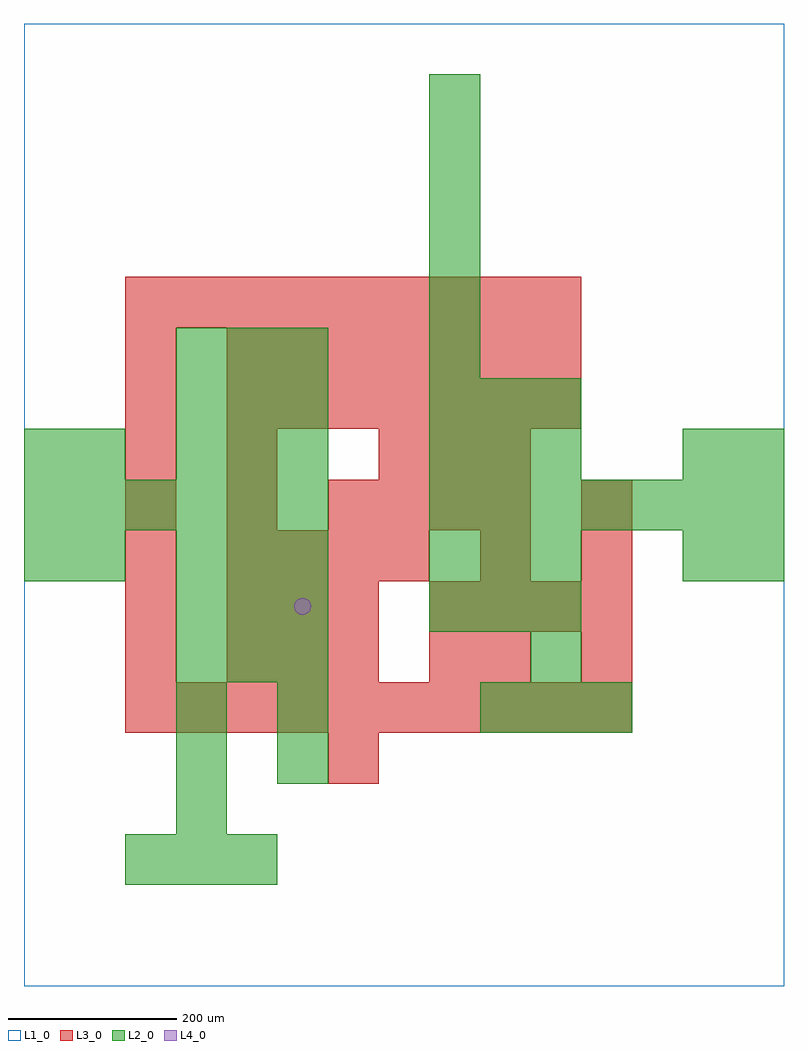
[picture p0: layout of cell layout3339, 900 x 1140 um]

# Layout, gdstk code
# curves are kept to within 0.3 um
import gdstk
lib = gdstk.Library(unit=1e-6, precision=1e-09)
def R(c, l, rs):  # rectangles x0, y0, x1, y1
    for r in rs: c.add(gdstk.rectangle(r[:2], r[2:], *l))
def A(c, l, x, y, w, h, nx, ny, dx, dy):  # array of equal rectangles
    R(c, l, [(x+i*dx, y+j*dy, x+i*dx+w, y+j*dy+h) for i in range(nx) for j in range(ny)])
def P(c, l, *ps):  # polygons
    for p in ps: c.add(gdstk.Polygon(p, *l))
L1_0 = (1, 0)
L2_0 = (2, 0)
L3_0 = (3, 0)
L4_0 = (4, 0)

layout3339 = lib.new_cell('layout3339')
R(layout3339, L1_0, [(0,0,900,1140)])
A(layout3339, L2_0, 120, 120, 60, 60, 3, 1, 60, 0)
A(layout3339, L2_0, 180, 180, 60, 60, 1, 3, 0, 60)
A(layout3339, L2_0, 540, 300, 60, 60, 3, 1, 60, 0)
A(layout3339, L2_0, 180, 360, 60, 60, 3, 3, 60, 60)
A(layout3339, L2_0, 480, 420, 60, 60, 3, 2, 60, 60)
A(layout3339, L2_0, 0, 540, 60, 60, 6, 1, 60, 0)
A(layout3339, L2_0, 480, 540, 60, 60, 7, 1, 60, 0)
A(layout3339, L2_0, 180, 600, 60, 60, 3, 3, 60, 60)
A(layout3339, L2_0, 480, 600, 60, 60, 3, 2, 60, 60)
A(layout3339, L2_0, 480, 720, 60, 60, 1, 6, 0, 60)
R(layout3339, L2_0, [(300,240,360,300), (300,300,360,360), (600,360,660,420), (0,480,60,540), (60,480,120,540), (780,480,840,540), (840,480,900,540), (0,600,60,660), (60,600,120,660), (780,600,840,660), (840,600,900,660)])
A(layout3339, L3_0, 120, 300, 60, 60, 10, 1, 60, 0)
A(layout3339, L3_0, 120, 360, 60, 60, 1, 3, 0, 60)
A(layout3339, L3_0, 240, 360, 60, 60, 3, 2, 60, 60)
A(layout3339, L3_0, 480, 420, 60, 60, 4, 1, 60, 0)
A(layout3339, L3_0, 240, 480, 60, 60, 4, 1, 60, 0)
A(layout3339, L3_0, 120, 540, 60, 60, 3, 1, 120, 0)
A(layout3339, L3_0, 420, 540, 60, 60, 3, 2, 60, 60)
A(layout3339, L3_0, 120, 600, 60, 60, 1, 3, 0, 60)
A(layout3339, L3_0, 240, 660, 60, 60, 7, 2, 60, 60)
A(layout3339, L3_0, 120, 780, 60, 60, 9, 1, 60, 0)
R(layout3339, L3_0, [(360,240,420,300), (480,360,540,420), (540,360,600,420), (660,360,720,420), (540,480,600,540), (660,480,720,540), (660,540,720,600), (240,600,300,660)])
P(layout3339, L4_0, [(340,450),(339.239,453.827),(337.071,457.071),(333.827,459.239),(330,460),(326.173,459.239),(322.929,457.071),(320.761,453.827),(320,450),(320.761,446.173),(322.929,442.929),(326.173,440.761),(330,440),(333.827,440.761),(337.071,442.929),(339.239,446.173)])

lib.write_gds('layout3339.gds')
